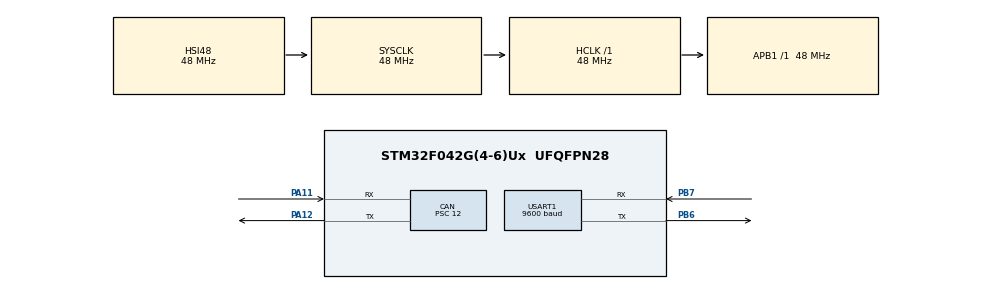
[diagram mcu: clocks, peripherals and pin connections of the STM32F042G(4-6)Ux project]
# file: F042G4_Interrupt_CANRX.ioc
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Mcu.Family=STM32F0
VP_SYS_VS_PINREMAP.Mode=PINREMAP
USART1.BaudRate=9600
PA11.Mode=Master
RCC.SYSCLKSource=RCC_SYSCLKSOURCE_HSI48
ProjectManager.StackSize=0x400
USART1.VirtualMode-Asynchronous=VM_ASYNC
PA12.Signal=CAN_TX
CAN.BS2=CAN_BS2_2TQ
CAN.BS1=CAN_BS1_13TQ
CAN.Prescaler=12
ProjectManager.TargetToolchain=STM32CubeIDE
RCC.HCLKFreq_Value=48000000
PB6.Signal=USART1_TX
PB6.Mode=Asynchronous
RCC.AHBFreq_Value=48000000
PF0-OSC_IN.Mode=HSE-External-Oscillator
board=custom
PB7.Signal=USART1_RX
Mcu.Name=STM32F042G(4-6)Ux
CAN.CalculateTimeQuantum=250.0
NVIC.CEC_CAN_IRQn=true\:0\:0\:false\:false\:true\:true\:true
RCC.SYSCLKFreq_VALUE=48000000
Mcu.Package=UFQFPN28
PA12.Mode=Master
PB7.Mode=Asynchronous
PA11.Signal=CAN_RX
ProjectManager.HeapSize=0x200
RCC.APB1TimFreq_Value=48000000
PF0-OSC_IN.Signal=RCC_OSC_IN
PF1-OSC_OUT.Mode=HSE-External-Oscillator
RCC.APB1Freq_Value=48000000
PF1-OSC_OUT.Signal=RCC_OSC_OUT

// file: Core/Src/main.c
/* USER CODE BEGIN Header */
/**
  ******************************************************************************
  * @file           : main.c
  * @brief          : Main program body
  ******************************************************************************
  * @attention
  *
  * <h2><center>&copy; Copyright (c) 2020 STMicroelectronics.
  * All rights reserved.</center></h2>
  *
  * This software component is licensed by ST under BSD 3-Clause license,
  * the "License"; You may not use this file except in compliance with the
  * License. You may obtain a copy of the License at:
  *                        opensource.org/licenses/BSD-3-Clause
  *
  ******************************************************************************
  */
/* USER CODE END Header */
#include "main.h"

CAN_HandleTypeDef hcan;

UART_HandleTypeDef huart1;

/* USER CODE BEGIN PV */
uint32_t RxFifo;
CAN_FilterTypeDef canfil; //CAN Bus Filter
uint32_t canMailbox; //CAN Bus Mail box variable
/* USER CODE END PV */

void SystemClock_Config(void);
static void MX_GPIO_Init(void);
static void MX_CAN_Init(void);
static void MX_USART1_UART_Init(void);
/* USER CODE BEGIN PFP */
CAN_RxHeaderTypeDef rxHeader; //CAN Bus Transmit Header
CAN_TxHeaderTypeDef txHeader; //CAN Bus Receive Header
uint8_t canRX[8] = {0,0,0,0,0,0,0,0};  //CAN Bus Receive Buffer
CAN_FilterTypeDef canfil; //CAN Bus Filter
uint32_t canMailbox; //CAN Bus Mail box variable+
/* USER CODE END PFP */

/* USER CODE BEGIN 0 */
uint8_t txdata[30] =  "Main Loop \n";
CAN_TxHeaderTypeDef   TxHeader;
CAN_RxHeaderTypeDef   RxHeader;
uint8_t               TxData[8];
uint8_t               RxData[8];
uint32_t              TxMailbox;
uint32_t              RxMailbox;
CAN_TxHeaderTypeDef pHeader; //declare a specific header for message transmittions
CAN_RxHeaderTypeDef pRxHeader; //declare header for message reception
uint32_t TxMailbox;
uint8_t a,r; //declare byte to be transmitted //declare a receive byte
CAN_FilterTypeDef sFilterConfig={0}; //declare CAN filter structure
uint8_t newline[2] = "\n"; //RxData[0];
uint8_t space[2] = "|"; //RxData[0];
/* USER CODE END 0 */

int main(void)
{

  /* MCU Configuration--------------------------------------------------------*/

  /* Reset of all peripherals, Initializes the Flash interface and the Systick. */
  HAL_Init();

  /* Configure the system clock */
  SystemClock_Config();

  /* Initialize all configured peripherals */
  MX_GPIO_Init();
  MX_CAN_Init();
  MX_USART1_UART_Init();
  /* USER CODE BEGIN 2 */
  HAL_CAN_ActivateNotification(&hcan, CAN_IT_RX_FIFO0_MSG_PENDING);
  canfil.FilterBank = 0;
  canfil.FilterMode = CAN_FILTERMODE_IDMASK;
  canfil.FilterFIFOAssignment = CAN_RX_FIFO0;
  canfil.FilterIdHigh = 0;
  canfil.FilterIdLow = 0;
  canfil.FilterMaskIdHigh = 0;
  canfil.FilterMaskIdLow = 0;
  canfil.FilterScale = CAN_FILTERSCALE_32BIT;
  canfil.FilterActivation = ENABLE;
  canfil.SlaveStartFilterBank = 14;

  txHeader.DLC = 8;
  txHeader.IDE = CAN_ID_STD;
  txHeader.RTR = CAN_RTR_DATA;
  txHeader.StdId = 0xCC4216;
  txHeader.ExtId = 0x02;
  txHeader.TransmitGlobalTime = DISABLE;
  HAL_CAN_ConfigFilter(&hcan,&canfil);
  HAL_CAN_Start(&hcan);
  /* USER CODE END 2 */

  /* Infinite loop */
  while (1)
  {
	      uint8_t csend[] = {0x01,0x02,0x03,0x04,0x05,0x06,0x07,0x08};
	  	  HAL_CAN_AddTxMessage(&hcan,&txHeader,csend,&canMailbox);
	  	  HAL_Delay(1000);
  }
}

void SystemClock_Config(void)
{
  RCC_OscInitTypeDef RCC_OscInitStruct = {0};
  RCC_ClkInitTypeDef RCC_ClkInitStruct = {0};
  RCC_PeriphCLKInitTypeDef PeriphClkInit = {0};

  /** Initializes the RCC Oscillators according to the specified parameters
  * in the RCC_OscInitTypeDef structure.
  */
  RCC_OscInitStruct.OscillatorType = RCC_OSCILLATORTYPE_HSI48;
  RCC_OscInitStruct.HSI48State = RCC_HSI48_ON;
  RCC_OscInitStruct.PLL.PLLState = RCC_PLL_NONE;
  if (HAL_RCC_OscConfig(&RCC_OscInitStruct) != HAL_OK)
  {
    Error_Handler();
  }
  /** Initializes the CPU, AHB and APB buses clocks
  */
  RCC_ClkInitStruct.ClockType = RCC_CLOCKTYPE_HCLK|RCC_CLOCKTYPE_SYSCLK
                              |RCC_CLOCKTYPE_PCLK1;
  RCC_ClkInitStruct.SYSCLKSource = RCC_SYSCLKSOURCE_HSI48;
  RCC_ClkInitStruct.AHBCLKDivider = RCC_SYSCLK_DIV1;
  RCC_ClkInitStruct.APB1CLKDivider = RCC_HCLK_DIV1;

  if (HAL_RCC_ClockConfig(&RCC_ClkInitStruct, FLASH_LATENCY_1) != HAL_OK)
  {
    Error_Handler();
  }
  PeriphClkInit.PeriphClockSelection = RCC_PERIPHCLK_USART1;
  PeriphClkInit.Usart1ClockSelection = RCC_USART1CLKSOURCE_PCLK1;
  if (HAL_RCCEx_PeriphCLKConfig(&PeriphClkInit) != HAL_OK)
  {
    Error_Handler();
  }
}

static void MX_CAN_Init(void)
{

  hcan.Instance = CAN;
  hcan.Init.Prescaler = 12;
  hcan.Init.Mode = CAN_MODE_NORMAL;
  hcan.Init.SyncJumpWidth = CAN_SJW_1TQ;
  hcan.Init.TimeSeg1 = CAN_BS1_13TQ;
  hcan.Init.TimeSeg2 = CAN_BS2_2TQ;
  hcan.Init.TimeTriggeredMode = DISABLE;
  hcan.Init.AutoBusOff = DISABLE;
  hcan.Init.AutoWakeUp = DISABLE;
  hcan.Init.AutoRetransmission = DISABLE;
  hcan.Init.ReceiveFifoLocked = DISABLE;
  hcan.Init.TransmitFifoPriority = DISABLE;
  if (HAL_CAN_Init(&hcan) != HAL_OK)
  {
    Error_Handler();
  }
  /* USER CODE BEGIN CAN_Init 2 */
  CAN_FilterTypeDef sFilterConfig = {0};
  sFilterConfig.FilterBank = 0;
  sFilterConfig.FilterMode = CAN_FILTERMODE_IDMASK;
  sFilterConfig.FilterScale = CAN_FILTERSCALE_32BIT;
  sFilterConfig.FilterIdHigh = 0x0000;
  sFilterConfig.FilterIdLow = 0x0000;
  sFilterConfig.FilterMaskIdHigh = 0x0000;
  sFilterConfig.FilterMaskIdHigh = 0x0000;
  sFilterConfig.FilterFIFOAssignment = CAN_RX_FIFO0;
  sFilterConfig.FilterActivation = ENABLE;
  sFilterConfig.SlaveStartFilterBank = 14;

  if (HAL_CAN_ConfigFilter(&hcan, &sFilterConfig) != HAL_OK){
    Error_Handler();
  }

  if (HAL_CAN_Start(&hcan) != HAL_OK) {
    Error_Handler();
  }
  /* USER CODE END CAN_Init 2 */

}

static void MX_USART1_UART_Init(void)
{

  huart1.Instance = USART1;
  huart1.Init.BaudRate = 9600;
  huart1.Init.WordLength = UART_WORDLENGTH_8B;
  huart1.Init.StopBits = UART_STOPBITS_1;
  huart1.Init.Parity = UART_PARITY_NONE;
  huart1.Init.Mode = UART_MODE_TX_RX;
  huart1.Init.HwFlowCtl = UART_HWCONTROL_NONE;
  huart1.Init.OverSampling = UART_OVERSAMPLING_16;
  huart1.Init.OneBitSampling = UART_ONE_BIT_SAMPLE_DISABLE;
  huart1.AdvancedInit.AdvFeatureInit = UART_ADVFEATURE_NO_INIT;
  if (HAL_UART_Init(&huart1) != HAL_OK)
  {
    Error_Handler();
  }

}

static void MX_GPIO_Init(void)
{

  /* GPIO Ports Clock Enable */
  __HAL_RCC_GPIOF_CLK_ENABLE();
  __HAL_RCC_GPIOA_CLK_ENABLE();
  __HAL_RCC_GPIOB_CLK_ENABLE();

}

void Error_Handler(void)
{
}

/************************ (C) COPYRIGHT STMicroelectronics *****END OF FILE****/
